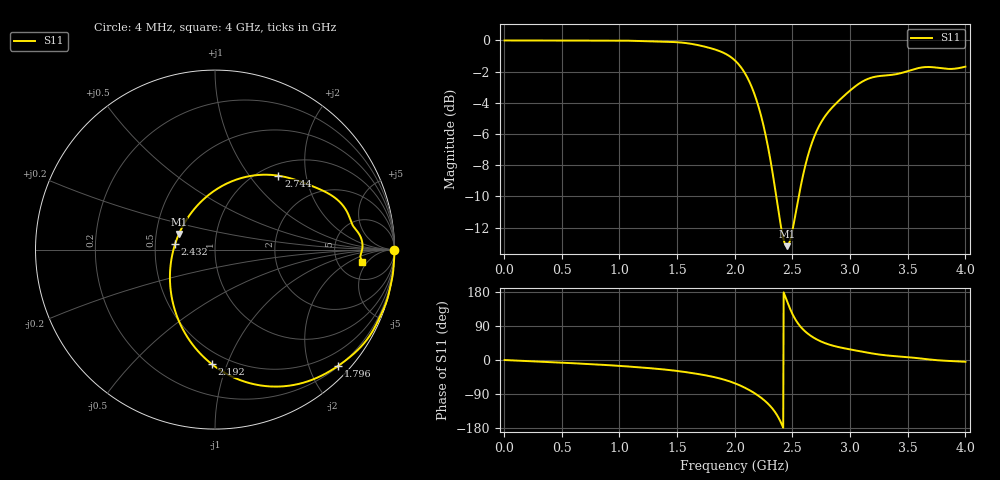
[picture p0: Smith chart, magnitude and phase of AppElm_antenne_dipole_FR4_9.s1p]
! TOUCHSTONE file generated by CST MICROWAVE STUDIO
! Date and time: Thu May 12 17:57:36 2022
! Project name: AppElm_antenne_dipole_FR4.cst
! Parameters = {L=38.8; e=0.035; f=2.45e+09; h=1.6; i=0.8; l1=4; lambda=122.449; ls=30; wl=1.7; ws=92}
! Header version: 2018
! Port assignment regex: !\s*Touchstone port\s*([0-9]+)\s*=\s*(CST MWS port|CST DS port)\s*([0-9]+|Zmin|Zmax)\s*\(\"(.*)\"\)(\s*mode\s*([0-9]+))?.*
! Touchstone port assignment:
! Touchstone port 1 = CST MWS port 1 ("")
# GHz S MA R 50
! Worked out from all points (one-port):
!   1000 points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, 4 MHz to 4 GHz, reference 50 ohm
!   lowest |S11| = -13.2 dB at 2.452 GHz (marker M1), VSWR 1.56, Z = 32.8 + j6.04 ohm
!   |S11| at or under -10 dB: 2.36 GHz to 2.555 GHz (194.9 MHz wide, 7.93 % of centre)
!   S11 on the Smith chart (normalised r, x): 4 MHz: open; 1.796 GHz: 0.21, -2.49; 2.192 GHz: 0.41, -0.88; 2.432 GHz: 0.64, +0.04; 2.744 GHz: 1.20, +1.40; 4 GHz: 8.81, -3.69
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0.004  0.9999 -0.1
0.504  1 -7.1
1.004  0.9989 -15.6
1.504  0.9868 -29.1
1.656  0.9704 -35.7
1.796  0.9432 -43.4
1.908  0.9109 -51.9
2.004  0.861 -61.8
2.104  0.7667 -75.7
2.192  0.6379 -91.6
2.26  0.5122 -107.4
2.32  0.3922 -125.7
2.376  0.2887 -150.4
2.432  0.2245 172.3
2.452  0.2191 156.4
2.504  0.2502 119.0
2.56  0.3237 91.8
2.616  0.4031 73.9
2.676  0.4774 60.5
2.744  0.5425 49.4
2.848  0.6117 38.1
3.004  0.693 27.7
3.196  0.762 17.0
3.324  0.7732 11.9
3.504  0.7985 7.4
3.64  0.8209 3.0
3.764  0.8171 -0.8
4  0.8241 -4.7
